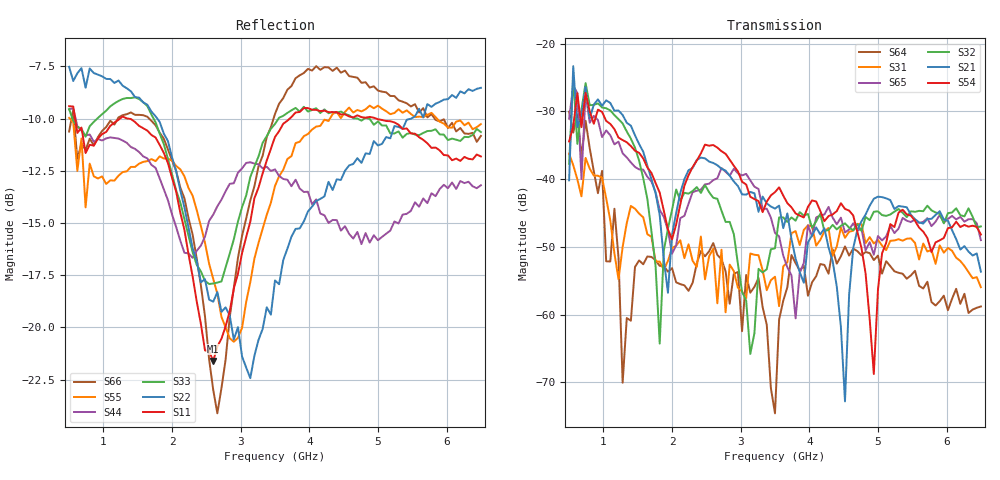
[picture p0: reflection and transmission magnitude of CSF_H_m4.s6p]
!Keysight Technologies,M9804A,MY58100912,A.14.10.03
!Date: Thursday, April 27, 2023 10:28:33
!Correction: S11(C  6-Port  )
!S12(C  6-Port  )
!S13(C  6-Port  )
!S14(C  6-Port  )
!S15(C  6-Port  )
!S16(C  6-Port  )
!S21(C  6-Port  )
!S22(C  6-Port  )
!S23(C  6-Port  )
!S24(C  6-Port  )
!S25(C  6-Port  )
!S26(C  6-Port  )
!S31(C  6-Port  )
!S32(C  6-Port  )
!S33(C  6-Port  )
!S34(C  6-Port  )
!S35(C  6-Port  )
!S36(C  6-Port  )
!S41(C  6-Port  )
!S42(C  6-Port  )
!S43(C  6-Port  )
!S44(C  6-Port  )
!S45(C  6-Port  )
!S46(C  6-Port  )
!S51(C  6-Port  )
!S52(C  6-Port  )
!S53(C  6-Port  )
!S54(C  6-Port  )
!S55(C  6-Port  )
!S56(C  6-Port  )
!S61(C  6-Port  )
!S62(C  6-Port  )
!S63(C  6-Port  )
!S64(C  6-Port  )
!S65(C  6-Port  )
!S66(C  6-Port  )
!S6P File: Measurement: :
# Hz S  RI  R 50
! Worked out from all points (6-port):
!   101 points, 500 MHz to 6.5 GHz, reference 50 ohm
!   strongest paths, dB at 500 MHz, 2 GHz, 3.5 GHz, 5 GHz, 6.5 GHz:
!     S54: -34.4, -48.9, -41.9, -56.4, -48.2
!     S21: -40.2, -48.2, -44.4, -42.6, -53.7
!     S32: -37.8, -44.5, -50.2, -44.8, -47.0
!     S65: -31.1, -51.0, -48.0, -48.4, -49.0
!     S31: -36.2, -50.2, -54.4, -49.0, -56.0
!     S64: -30.1, -53.2, -74.6, -51.3, -58.8
!   lowest |S11| = -21.6 dB at 2.6 GHz (marker M1), VSWR 1.18, Z = 42.6 + j2.04 ohm
!   |S11| at or under -10 dB: 587.4 MHz to 1.241 GHz (653.6 MHz wide, 71.5 % of centre); 1.359 GHz to 3.714 GHz (2.355 GHz wide, 92.8 % of centre); 4.975 GHz to end of sweep
